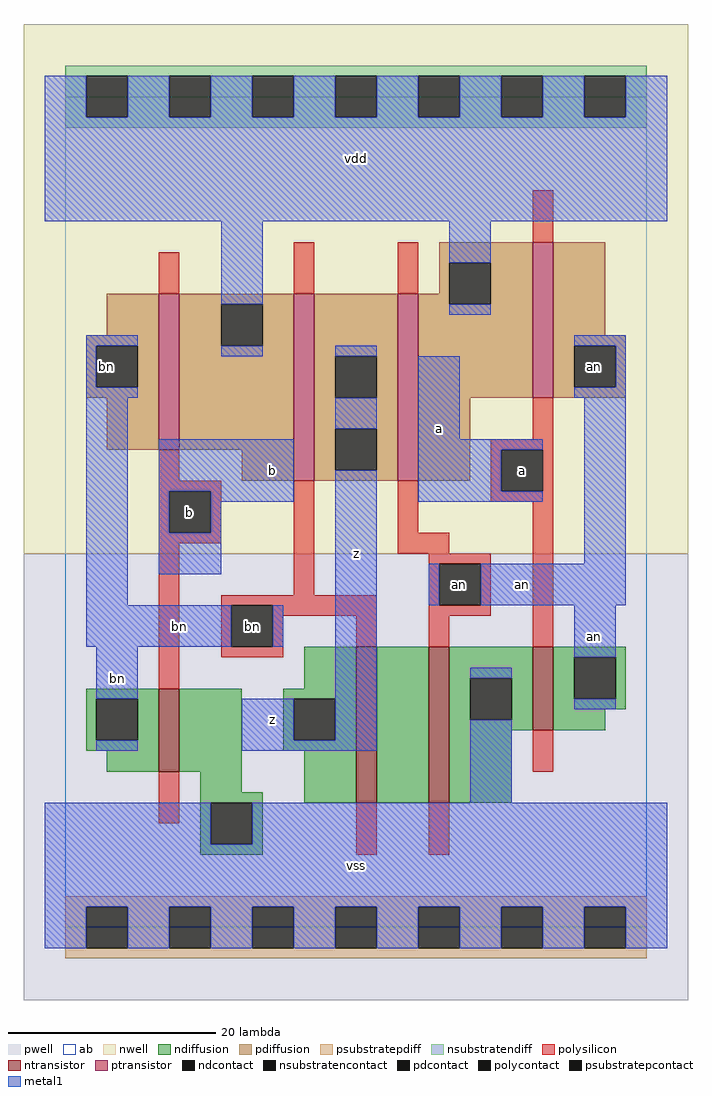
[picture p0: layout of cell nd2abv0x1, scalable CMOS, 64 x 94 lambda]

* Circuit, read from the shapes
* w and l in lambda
.subckt nd2abv0x1 a an b bn vdd vss z
M1 vss b bn vss nfet w=8 l=2
M2 n1 bn z vss nfet w=15 l=2
M3 vss an n1 vss nfet w=15 l=2
M4 an a vss vss nfet w=8 l=2
M5 vdd b bn vdd pfet w=15 l=2
M6 z bn vdd vdd pfet w=18 l=2
M7 vdd an z vdd pfet w=18 l=2
M8 an a vdd vdd pfet w=15 l=2
.ends

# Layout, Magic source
magic
tech scmos
<< ab >>
rect 0 0 56 80
<< pwell >>
rect -4 -7 60 36
<< nwell >>
rect -4 36 60 87
<< polysilicon >>
rect 45 66 47 71
rect 9 61 11 65
rect 22 61 24 66
rect 32 61 34 66
rect 9 43 11 46
rect 45 47 47 51
rect 41 46 47 47
rect 9 42 15 43
rect 9 38 10 42
rect 14 38 15 42
rect 9 37 15 38
rect 9 23 11 37
rect 22 32 24 43
rect 32 38 34 43
rect 41 42 42 46
rect 46 42 47 46
rect 41 41 47 42
rect 32 36 37 38
rect 35 35 41 36
rect 15 31 30 32
rect 15 27 16 31
rect 20 30 30 31
rect 20 27 21 30
rect 28 27 30 30
rect 35 31 36 35
rect 40 31 41 35
rect 35 30 41 31
rect 35 27 37 30
rect 45 27 47 41
rect 15 26 21 27
rect 9 10 11 15
rect 45 15 47 19
rect 28 7 30 12
rect 35 7 37 12
<< ndiffusion >>
rect 23 23 28 27
rect 2 22 9 23
rect 2 18 3 22
rect 7 18 9 22
rect 2 17 9 18
rect 4 15 9 17
rect 11 15 17 23
rect 21 22 28 23
rect 21 18 22 22
rect 26 18 28 22
rect 21 17 28 18
rect 13 13 17 15
rect 13 12 19 13
rect 23 12 28 17
rect 30 12 35 27
rect 37 24 45 27
rect 37 20 39 24
rect 43 20 45 24
rect 37 19 45 20
rect 47 26 54 27
rect 47 22 49 26
rect 53 22 54 26
rect 47 21 54 22
rect 47 19 52 21
rect 37 12 43 19
rect 13 8 14 12
rect 18 8 19 12
rect 13 7 19 8
<< pdiffusion >>
rect 36 64 45 66
rect 36 61 37 64
rect 4 57 9 61
rect 2 56 9 57
rect 2 52 3 56
rect 7 52 9 56
rect 2 51 9 52
rect 4 46 9 51
rect 11 60 22 61
rect 11 56 15 60
rect 19 56 22 60
rect 11 46 22 56
rect 17 43 22 46
rect 24 55 32 61
rect 24 51 26 55
rect 30 51 32 55
rect 24 48 32 51
rect 24 44 26 48
rect 30 44 32 48
rect 24 43 32 44
rect 34 60 37 61
rect 41 60 45 64
rect 34 51 45 60
rect 47 57 52 66
rect 47 56 54 57
rect 47 52 49 56
rect 53 52 54 56
rect 47 51 54 52
rect 34 43 39 51
<< metal1 >>
rect -2 78 2 82
rect 6 78 10 82
rect 14 78 18 82
rect 22 78 26 82
rect 30 78 34 82
rect 38 78 42 82
rect 46 78 50 82
rect 54 78 58 82
rect -2 68 58 78
rect 15 60 19 68
rect 2 56 7 57
rect 2 52 3 56
rect 37 64 41 68
rect 37 59 41 60
rect 49 56 54 57
rect 15 55 19 56
rect 26 55 30 56
rect 2 51 7 52
rect 2 31 6 51
rect 26 48 30 51
rect 9 42 22 47
rect 9 38 10 42
rect 14 41 22 42
rect 14 38 15 41
rect 9 34 15 38
rect 2 27 16 31
rect 20 27 21 31
rect 3 22 7 27
rect 3 17 7 18
rect 17 18 22 22
rect 26 18 30 44
rect 34 47 38 55
rect 53 52 54 56
rect 49 51 54 52
rect 34 46 46 47
rect 34 42 42 46
rect 34 41 46 42
rect 50 35 54 51
rect 35 31 36 35
rect 40 31 54 35
rect 49 26 53 31
rect 17 17 30 18
rect 39 24 43 25
rect 49 21 53 22
rect 39 12 43 20
rect -2 8 14 12
rect 18 8 58 12
rect -2 2 58 8
rect -2 -2 2 2
rect 6 -2 10 2
rect 14 -2 18 2
rect 22 -2 26 2
rect 30 -2 34 2
rect 38 -2 42 2
rect 46 -2 50 2
rect 54 -2 58 2
<< ntransistor >>
rect 9 15 11 23
rect 28 12 30 27
rect 35 12 37 27
rect 45 19 47 27
<< ptransistor >>
rect 9 46 11 61
rect 22 43 24 61
rect 32 43 34 61
rect 45 51 47 66
<< polycontact >>
rect 10 38 14 42
rect 42 42 46 46
rect 16 27 20 31
rect 36 31 40 35
<< ndcontact >>
rect 3 18 7 22
rect 22 18 26 22
rect 39 20 43 24
rect 49 22 53 26
rect 14 8 18 12
<< pdcontact >>
rect 3 52 7 56
rect 15 56 19 60
rect 26 51 30 55
rect 26 44 30 48
rect 37 60 41 64
rect 49 52 53 56
<< psubstratepcontact >>
rect 2 -2 6 2
rect 10 -2 14 2
rect 18 -2 22 2
rect 26 -2 30 2
rect 34 -2 38 2
rect 42 -2 46 2
rect 50 -2 54 2
<< nsubstratencontact >>
rect 2 78 6 82
rect 10 78 14 82
rect 18 78 22 82
rect 26 78 30 82
rect 34 78 38 82
rect 42 78 46 82
rect 50 78 54 82
<< psubstratepdiff >>
rect 0 2 56 3
rect 0 -2 2 2
rect 6 -2 10 2
rect 14 -2 18 2
rect 22 -2 26 2
rect 30 -2 34 2
rect 38 -2 42 2
rect 46 -2 50 2
rect 54 -2 56 2
rect 0 -3 56 -2
<< nsubstratendiff >>
rect 0 82 56 83
rect 0 78 2 82
rect 6 78 10 82
rect 14 78 18 82
rect 22 78 26 82
rect 30 78 34 82
rect 38 78 42 82
rect 46 78 50 82
rect 54 78 56 82
rect 0 77 56 78
<< labels >>
rlabel polycontact 18 29 18 29 6 bn
rlabel polycontact 38 33 38 33 6 an
rlabel metal1 5 24 5 24 6 bn
rlabel pdcontact 4 54 4 54 6 bn
rlabel metal1 20 20 20 20 6 z
rlabel metal1 11 29 11 29 6 bn
rlabel metal1 20 44 20 44 6 b
rlabel polycontact 12 40 12 40 6 b
rlabel metal1 28 6 28 6 6 vss
rlabel metal1 28 36 28 36 6 z
rlabel metal1 36 48 36 48 6 a
rlabel metal1 28 74 28 74 6 vdd
rlabel metal1 44 33 44 33 6 an
rlabel metal1 51 28 51 28 6 an
rlabel polycontact 44 44 44 44 6 a
rlabel pdcontact 51 54 51 54 6 an
<< end >>
